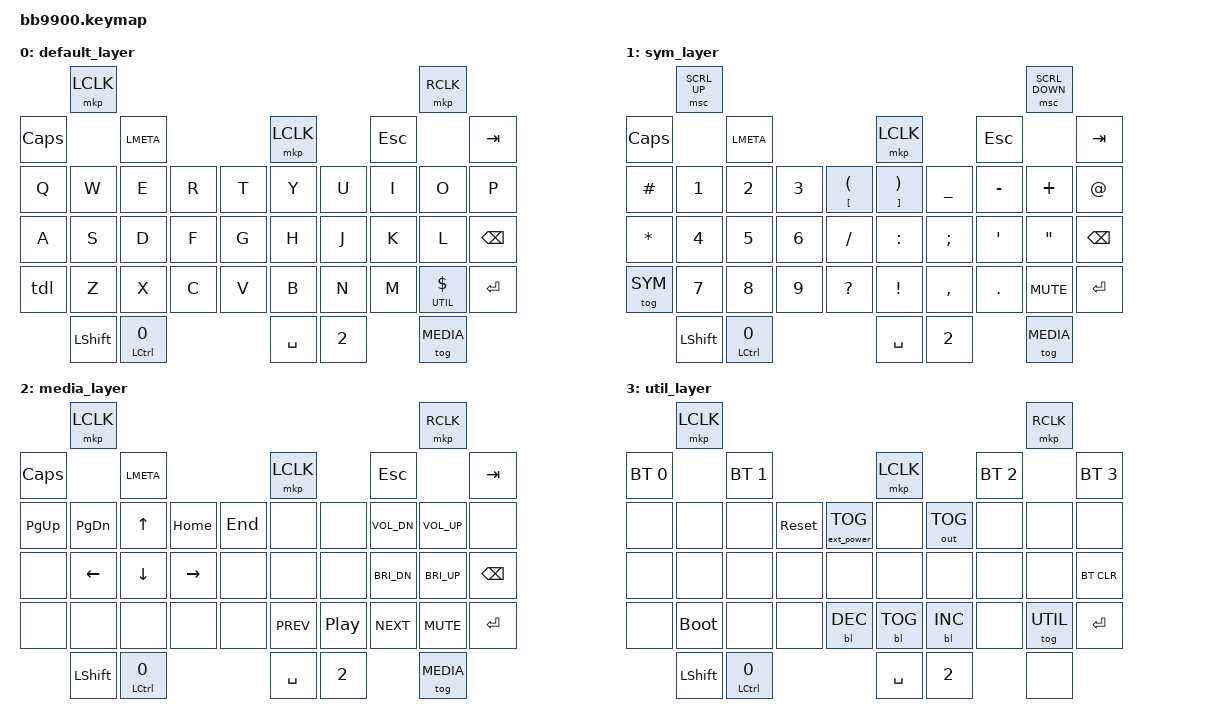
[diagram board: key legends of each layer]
/*
 * Copyright (c) 2023 ZitaoTech
 *
 * SPDX-License-Identifier: MIT
 */

#include <behaviors.dtsi>
#include <dt-bindings/zmk/keys.h>
#include <dt-bindings/zmk/bt.h> // 蓝牙连接管理，最多5个连接
#include <dt-bindings/zmk/outputs.h> // 选择输出途径 蓝牙|USB
#include <dt-bindings/zmk/mouse.h> // 模拟鼠标操作
#include <dt-bindings/zmk/backlight.h> // 背光操作
#include <dt-bindings/zmk/ext_power.h> // 电源相关操作


/**
 * ######################
 * #      说  明
 *######################
 *
 * ## 一、共 4 层：
 *      1. 字母层：字母
 *      2. 符号层：数字、符号
 *      3. 媒体层：方向键、屏幕亮度、音量、上一曲|暂停|下一曲
 *      4. 功能层：触控板开关、BootLoader 固件升级、键盘灯控制、输出途径控制（蓝牙、USB）
 *
 * ## 二、层级切换说明：
 *      1. 字母层：
 *
 *      2. 符号层：
 *          alt 点击：临时进入符号层，2 秒内点击任意符号，上屏对应符号并立即退出符号层，<四个键盘灯长亮>
 *          alt 长按：进入符号层，<四个键盘灯长亮>
 *
 *      3. 媒体层：
 *          右侧 aA↑ 点击：切换媒体层、字母层 <四个键盘灯呼吸>
 *
 *      4. 功能层：
 *          $ 键点击：输入 $
 *          $ 键长按：进入功能层，<四个键盘灯闪烁>
 *
 **/


#define SYM 1
#define MEDIA 2
#define UTIL 3

&sl {
    release-after-ms = <2000>;  // 粘滞层： 2 秒后如果没有按下其它键，将复原。默认值为 1000
};


/ {
    behaviors {
        // 动作: 短按 | 长按
        // 长按: 切换层
        // 短按: 普通按键
        htl: hold_toggle_layer {
            compatible = "zmk,behavior-hold-tap";
            #binding-cells = <2>;
            tapping-term-ms = <500>;
            bindings = <&tog &kp>;
        };
        // 动作: 单击 | 双击
        // 单击: 粘滞层
        // 双击: 切换层
        tdl: tap_dance_layer {
            compatible = "zmk,behavior-tap-dance";
            #binding-cells = <0>;
            tapping-term-ms = <400>;
            bindings = <&sl SYM>, <&tog SYM>;
        };
    };

    keymap {
        compatible = "zmk,keymap";

        /*
         *    KEYBOARD LAYOUT
         *
                              ---------------------                                                                -------------------------
                             |    Shoulder Key1    |                                                              |      Shoulder Key2      |
                 ---------------------------------------------------------------------------------------------------------------------------------------------------
                |        Call key        |   Blackberry Key    |              Trackpad            |             Back Key           |          Endcall Key           |
                -----------------------------------------------------------------------------------------------------------------------------------------------------
                |     Q      |     W     |     E    |     R    |         T       |       Y        |        U       |       I       |        O        |      P       |
                -----------------------------------------------------------------------------------------------------------------------------------------------------
                |     A      |     S     |     D    |     F    |         G       |       H        |        J       |       K       |        L        |      ←       |
                -----------------------------------------------------------------------------------------------------------------------------------------------------
                 \    alt    |     Z     |     X    |     C    |         V       |       B        |        N       |       M       |        $        |    Enter    /
                   -----------------------------------------------------------------------------------------------------------------------------------------------
                              \      aA        |       0        |                    SPACE                  |          SYM          |         aA    /
                                -------------------------------------------------------------------------------------------------------------------
        */

        /*==================
         *  1. 字母层 DEFAULT
         *==================*/
        default_layer {
                bindings = <
            //                  TOP LEFT BUTTON                                                                                          TOP RIGHT BUTTON
                                &mkp LCLK                                                                                                &mkp RCLK

            //  PHONE                       BLACKBERRY                                TOUCH_PAD                          BACK                             HUNG_UP
                &kp CLCK                    &kp LMETA                                 &mkp LCLK                          &kp ESC                          &kp TAB

            //  Q               W           E           R          T                  Y                 U                I               O                P
                &kp Q           &kp W       &kp E       &kp R     &kp T               &kp Y             &kp U            &kp I           &kp O            &kp P

            //  A               S           D           F          G                  H                 J                K               L                BACKSPACE
                &kp A           &kp S       &kp D       &kp F     &kp G               &kp H             &kp J            &kp K           &kp L            &kp BSPC

            //  Alt             Z           X           C          V                  B                 N                M               $                ENTER
                &tdl            &kp Z       &kp X       &kp C     &kp V               &kp B             &kp N            &kp M           &htl UTIL DLLR   &kp ENTER

            //                  LSHIFT            0                                   SPACE                     SYM                      RSHIFT
                                &kp LSHFT         &mt LCTRL N0                        &kp SPACE                 &kp N2                   &tog MEDIA
            >;
        };


        /*==================
        * 2. 符号层 SYMBOL
        *==================*/
        sym_layer {
            bindings = <
            //                  TOP LEFT BUTTON                                                                                         TOP RIGHT BUTTON
                                &msc SCRL_UP                                                                                            &msc SCRL_DOWN

            //  PHONE                       BLACKBERRY                                TOUCH_PAD                          BACK                             HUNG_UP
                &kp CLCK                    &kp LMETA                                 &mkp LCLK                          &kp ESC                          &kp TAB

            //  Q               W           E           R          T                  Y                 U                I               O                P
                &kp HASH        &kp N1      &kp N2      &kp N3    &mt LBKT LPAR       &mt RBKT RPAR     &kp UNDER        &kp MINUS       &kp PLUS         &kp AT

            //  A               S           D           F          G                  H                 J                K               L                BACKSPACE
                &kp STAR        &kp N4      &kp N5      &kp N6    &kp SLASH           &kp COLON         &kp SEMI         &kp APOS        &kp DQT          &kp BSPC

            //  Alt             Z           X           C          V                  B                 N                M               $                ENTER
                &tog SYM        &kp N7      &kp N8      &kp N9    &kp QMARK           &kp EXCL          &kp COMMA        &kp DOT         &kp C_MUTE       &kp ENTER

            //                  LSHIFT            0                                   SPACE                     SYM                      RSHIFT
                                &kp LSHFT         &mt LCTRL N0                        &kp SPACE                 &kp N2                   &tog MEDIA
            >;
        };


        /*==================
        *  3. 媒体层 MEDIA
        *==================*/
        media_layer {
            bindings = <
            //                  TOP LEFT BUTTON                                                                                          TOP RIGHT BUTTON
                                &mkp LCLK                                                                                                &mkp RCLK

            //  PHONE                       BLACKBERRY                                TOUCH_PAD                          BACK                             HUNG_UP
                &kp CLCK                    &kp LMETA                                 &mkp LCLK                          &kp ESC                          &kp TAB

            //  Q               W           E           R          T                  Y                 U                I               O                P
                &kp PG_UP       &kp PG_DN   &kp UP      &kp HOME   &kp END            &none             &none            &kp C_VOL_DN    &kp C_VOL_UP     &none

            //  A               S           D           F          G                  H                 J                K               L                BACKSPACE
                &none           &kp LEFT    &kp DOWN    &kp RIGHT  &none              &none             &none            &kp C_BRI_DN    &kp C_BRI_UP     &kp BSPC

            //  Alt             Z           X           C          V                  B                 N                M               $                ENTER
                &none           &none       &none       &none      &none              &kp C_PREV        &kp C_PP         &kp C_NEXT      &kp C_MUTE       &kp ENTER

            //                  LSHIFT            0                                   SPACE                     SYM                      RSHIFT
                                &kp LSHFT         &mt LCTRL N0                        &kp SPACE                 &kp N2                   &tog MEDIA
            >;
        };


        /*==================
        *  4. 功能层 UTILITY
        ==================*/
        util_layer {
            bindings = <
            //                  TOP LEFT BUTTON                                                                                          TOP RIGHT BUTTON
                                &mkp LCLK                                                                                                &mkp RCLK

            //  PHONE                       BLACKBERRY                                TOUCH_PAD                          BACK                             HUNG_UP
                &bt BT_SEL 0                &bt BT_SEL 1                              &mkp LCLK                          &bt BT_SEL 2                     &bt BT_SEL 3

            //  Q               W           E           R          T                  Y                 U                I               O                P
                &none           &none       &none       &sys_reset &ext_power EP_TOG  &none             &out OUT_TOG     &none           &none            &none

            //  A               S           D           F          G                  H                 J                K               L                BACKSPACE
                &none           &none       &none       &none      &none              &none             &none            &none           &none            &bt BT_CLR

            //  Alt             Z           X           C          V                  B                 N                M               $                ENTER
                &none           &bootloader &none       &none      &bl BL_DEC         &bl BL_TOG        &bl BL_INC       &none           &tog UTIL        &kp ENTER

            //                  LSHIFT            0                                   SPACE                     SYM                      RSHIFT
                                &kp LSHFT         &mt LCTRL N0                        &kp SPACE                 &kp N2                   &none
            >;
        };
    };
};

